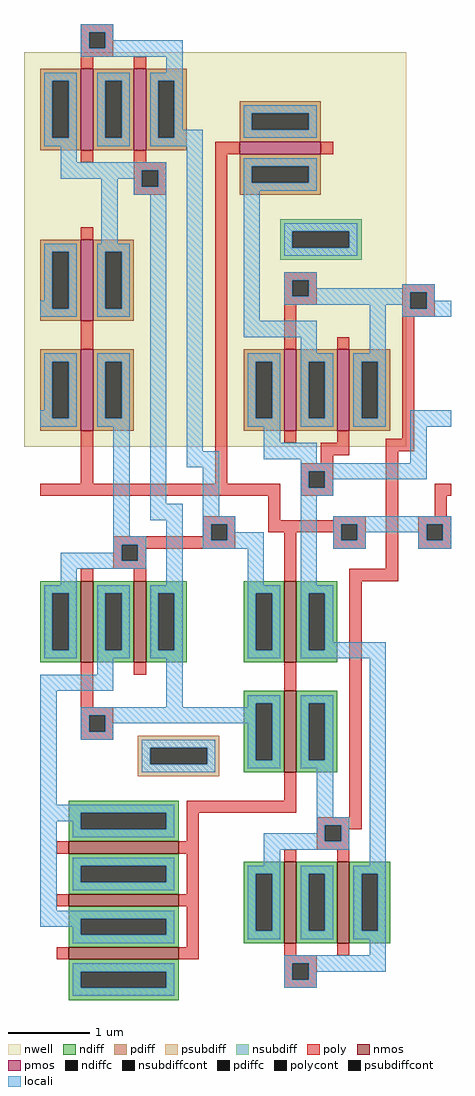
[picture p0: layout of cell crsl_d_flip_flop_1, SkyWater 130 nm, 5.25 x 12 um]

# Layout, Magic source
magic
tech sky130A
<< nwell >>
rect -70 -145 400 340
<< nmos >>
rect 0 -410 15 -310
rect 65 -410 80 -310
rect 250 -410 265 -310
rect 250 -545 265 -445
rect -15 -645 120 -630
rect -15 -710 120 -695
rect 250 -755 265 -655
rect 315 -755 330 -655
rect -15 -775 120 -760
<< pmos >>
rect 0 220 15 320
rect 65 220 80 320
rect 195 215 295 230
rect 0 10 15 110
rect 0 -125 15 -25
rect 250 -125 265 -25
rect 315 -125 330 -25
<< ndiff >>
rect -50 -325 0 -310
rect -50 -395 -35 -325
rect -15 -395 0 -325
rect -50 -410 0 -395
rect 15 -325 65 -310
rect 15 -395 30 -325
rect 50 -395 65 -325
rect 15 -410 65 -395
rect 80 -325 130 -310
rect 80 -395 95 -325
rect 115 -395 130 -325
rect 80 -410 130 -395
rect 200 -325 250 -310
rect 200 -395 215 -325
rect 235 -395 250 -325
rect 200 -410 250 -395
rect 265 -325 315 -310
rect 265 -395 280 -325
rect 300 -395 315 -325
rect 265 -410 315 -395
rect 200 -460 250 -445
rect 200 -530 215 -460
rect 235 -530 250 -460
rect 200 -545 250 -530
rect 265 -460 315 -445
rect 265 -530 280 -460
rect 300 -530 315 -460
rect 265 -545 315 -530
rect -15 -595 120 -580
rect -15 -615 0 -595
rect 105 -615 120 -595
rect -15 -630 120 -615
rect -15 -660 120 -645
rect -15 -680 0 -660
rect 105 -680 120 -660
rect -15 -695 120 -680
rect -15 -725 120 -710
rect -15 -745 0 -725
rect 105 -745 120 -725
rect -15 -760 120 -745
rect 200 -670 250 -655
rect 200 -740 215 -670
rect 235 -740 250 -670
rect 200 -755 250 -740
rect 265 -670 315 -655
rect 265 -740 280 -670
rect 300 -740 315 -670
rect 265 -755 315 -740
rect 330 -670 380 -655
rect 330 -740 345 -670
rect 365 -740 380 -670
rect 330 -755 380 -740
rect -15 -790 120 -775
rect -15 -810 0 -790
rect 105 -810 120 -790
rect -15 -825 120 -810
<< pdiff >>
rect -50 305 0 320
rect -50 235 -35 305
rect -15 235 0 305
rect -50 220 0 235
rect 15 305 65 320
rect 15 235 30 305
rect 50 235 65 305
rect 15 220 65 235
rect 80 305 130 320
rect 80 235 95 305
rect 115 235 130 305
rect 80 220 130 235
rect 195 265 295 280
rect 195 245 210 265
rect 280 245 295 265
rect 195 230 295 245
rect -50 95 0 110
rect -50 25 -35 95
rect -15 25 0 95
rect -50 10 0 25
rect 15 95 65 110
rect 15 25 30 95
rect 50 25 65 95
rect 15 10 65 25
rect -50 -40 0 -25
rect -50 -110 -35 -40
rect -15 -110 0 -40
rect -50 -125 0 -110
rect 15 -40 65 -25
rect 15 -110 30 -40
rect 50 -110 65 -40
rect 15 -125 65 -110
rect 195 200 295 215
rect 195 180 210 200
rect 280 180 295 200
rect 195 165 295 180
rect 200 -40 250 -25
rect 200 -110 215 -40
rect 235 -110 250 -40
rect 200 -125 250 -110
rect 265 -40 315 -25
rect 265 -110 280 -40
rect 300 -110 315 -40
rect 265 -125 315 -110
rect 330 -40 380 -25
rect 330 -110 345 -40
rect 365 -110 380 -40
rect 330 -125 380 -110
<< ndiffc >>
rect -35 -395 -15 -325
rect 30 -395 50 -325
rect 95 -395 115 -325
rect 215 -395 235 -325
rect 280 -395 300 -325
rect 215 -530 235 -460
rect 280 -530 300 -460
rect 0 -615 105 -595
rect 0 -680 105 -660
rect 0 -745 105 -725
rect 215 -740 235 -670
rect 280 -740 300 -670
rect 345 -740 365 -670
rect 0 -810 105 -790
<< pdiffc >>
rect -35 235 -15 305
rect 30 235 50 305
rect 95 235 115 305
rect 210 245 280 265
rect -35 25 -15 95
rect 30 25 50 95
rect -35 -110 -15 -40
rect 30 -110 50 -40
rect 210 180 280 200
rect 215 -110 235 -40
rect 280 -110 300 -40
rect 345 -110 365 -40
<< psubdiff >>
rect 70 -515 170 -500
rect 70 -535 85 -515
rect 155 -535 170 -515
rect 70 -550 170 -535
<< nsubdiff >>
rect 245 120 345 135
rect 245 100 260 120
rect 330 100 345 120
rect 245 85 345 100
<< psubdiffcont >>
rect 85 -535 155 -515
<< nsubdiffcont >>
rect 260 100 330 120
<< poly >>
rect 0 365 40 375
rect 0 345 10 365
rect 30 345 40 365
rect 0 335 40 345
rect 0 320 15 335
rect 65 320 80 335
rect 0 205 15 220
rect 65 205 80 220
rect 165 215 195 230
rect 295 215 310 230
rect 65 195 105 205
rect 65 175 75 195
rect 95 175 105 195
rect 65 165 105 175
rect 0 110 15 125
rect 0 -25 15 10
rect 0 -190 15 -125
rect 165 -190 180 215
rect 250 60 290 70
rect 250 40 260 60
rect 280 40 290 60
rect 250 30 290 40
rect 395 45 435 55
rect 250 -25 265 30
rect 395 25 405 45
rect 425 25 435 45
rect 395 15 435 25
rect 315 -25 330 -10
rect 250 -140 265 -125
rect 315 -140 330 -125
rect 395 -135 410 15
rect 295 -155 330 -140
rect 375 -150 410 -135
rect 295 -165 310 -155
rect 270 -175 310 -165
rect -50 -205 245 -190
rect 270 -195 280 -175
rect 300 -195 310 -175
rect 270 -205 310 -195
rect 150 -240 190 -230
rect 150 -255 160 -240
rect 40 -260 160 -255
rect 180 -260 190 -240
rect 230 -235 245 -205
rect 310 -235 350 -230
rect 230 -240 350 -235
rect 230 -250 320 -240
rect 40 -265 190 -260
rect 40 -285 50 -265
rect 70 -270 190 -265
rect 70 -285 80 -270
rect 40 -295 80 -285
rect 0 -310 15 -295
rect 65 -310 80 -295
rect 250 -310 265 -250
rect 310 -260 320 -250
rect 340 -260 350 -240
rect 310 -270 350 -260
rect 375 -295 390 -150
rect 435 -205 455 -190
rect 435 -230 450 -205
rect 415 -240 455 -230
rect 415 -260 425 -240
rect 445 -260 455 -240
rect 415 -270 455 -260
rect 330 -310 390 -295
rect 0 -465 15 -410
rect 65 -425 80 -410
rect 250 -445 265 -410
rect 0 -475 40 -465
rect 0 -495 10 -475
rect 30 -495 40 -475
rect 0 -505 40 -495
rect 250 -580 265 -545
rect 130 -595 265 -580
rect 130 -630 145 -595
rect 330 -600 345 -310
rect -30 -645 -15 -630
rect 120 -645 145 -630
rect 290 -610 345 -600
rect 290 -630 300 -610
rect 320 -615 345 -610
rect 320 -630 330 -615
rect 290 -640 330 -630
rect 130 -695 145 -645
rect 250 -655 265 -640
rect 315 -655 330 -640
rect -30 -710 -15 -695
rect 120 -710 145 -695
rect 130 -760 145 -710
rect -30 -775 -15 -760
rect 120 -775 145 -760
rect 250 -770 265 -755
rect 315 -770 330 -755
rect 250 -780 290 -770
rect 250 -800 260 -780
rect 280 -800 290 -780
rect 250 -810 290 -800
<< polycont >>
rect 10 345 30 365
rect 75 175 95 195
rect 260 40 280 60
rect 405 25 425 45
rect 280 -195 300 -175
rect 160 -260 180 -240
rect 50 -285 70 -265
rect 320 -260 340 -240
rect 425 -260 445 -240
rect 10 -495 30 -475
rect 300 -630 320 -610
rect 260 -800 280 -780
<< locali >>
rect 0 365 40 375
rect 0 345 10 365
rect 30 355 40 365
rect 30 345 125 355
rect 0 335 125 345
rect 105 315 125 335
rect -45 305 -5 315
rect -45 235 -35 305
rect -15 235 -5 305
rect -45 225 -5 235
rect 20 305 60 315
rect 20 235 30 305
rect 50 235 60 305
rect 20 225 60 235
rect 85 305 125 315
rect 85 235 95 305
rect 115 245 125 305
rect 200 265 290 275
rect 200 245 210 265
rect 280 245 290 265
rect 115 235 150 245
rect 200 235 290 245
rect 85 225 150 235
rect -25 205 -5 225
rect -25 195 105 205
rect -25 185 75 195
rect 25 105 45 185
rect 65 175 75 185
rect 95 175 105 195
rect 65 165 105 175
rect -45 95 -5 105
rect -45 35 -35 95
rect -50 25 -35 35
rect -15 25 -5 95
rect -50 15 -5 25
rect 20 95 60 105
rect 20 25 30 95
rect 50 25 60 95
rect 20 15 60 25
rect -45 -40 -5 -30
rect -45 -100 -35 -40
rect -50 -110 -35 -100
rect -15 -110 -5 -40
rect -50 -120 -5 -110
rect 20 -40 60 -30
rect 20 -110 30 -40
rect 50 -110 60 -40
rect 20 -120 60 -110
rect 40 -255 60 -120
rect 85 -215 105 165
rect 130 -150 150 225
rect 200 200 290 210
rect 200 180 210 200
rect 280 180 290 200
rect 200 170 290 180
rect 200 10 220 170
rect 250 120 340 130
rect 250 100 260 120
rect 330 100 340 120
rect 250 90 340 100
rect 250 60 290 70
rect 250 40 260 60
rect 280 50 290 60
rect 395 50 435 55
rect 280 45 435 50
rect 280 40 405 45
rect 250 30 405 40
rect 200 -10 290 10
rect 270 -30 290 -10
rect 355 -30 375 30
rect 395 25 405 30
rect 425 35 435 45
rect 425 25 455 35
rect 395 15 455 25
rect 205 -40 245 -30
rect 205 -110 215 -40
rect 235 -110 245 -40
rect 205 -120 245 -110
rect 270 -40 310 -30
rect 270 -110 280 -40
rect 300 -110 310 -40
rect 270 -120 310 -110
rect 335 -40 375 -30
rect 335 -110 345 -40
rect 365 -110 375 -40
rect 335 -120 375 -110
rect 405 -120 455 -100
rect 225 -140 245 -120
rect 130 -170 170 -150
rect 225 -160 290 -140
rect 85 -235 125 -215
rect 40 -265 80 -255
rect 40 -275 50 -265
rect -25 -285 50 -275
rect 70 -285 80 -265
rect -25 -295 80 -285
rect -25 -315 -5 -295
rect 105 -315 125 -235
rect 150 -230 170 -170
rect 270 -165 290 -160
rect 405 -165 425 -120
rect 270 -175 425 -165
rect 270 -195 280 -175
rect 300 -185 425 -175
rect 300 -195 310 -185
rect 270 -205 310 -195
rect 150 -240 190 -230
rect 150 -260 160 -240
rect 180 -250 190 -240
rect 180 -260 225 -250
rect 150 -270 225 -260
rect -45 -325 -5 -315
rect -45 -395 -35 -325
rect -15 -395 -5 -325
rect -45 -405 -5 -395
rect 20 -325 60 -315
rect 20 -395 30 -325
rect 50 -395 60 -325
rect 20 -405 60 -395
rect 85 -325 125 -315
rect 85 -395 95 -325
rect 115 -395 125 -325
rect 85 -405 125 -395
rect 205 -315 225 -270
rect 270 -315 290 -205
rect 310 -240 455 -230
rect 310 -260 320 -240
rect 340 -250 425 -240
rect 340 -260 350 -250
rect 310 -270 350 -260
rect 415 -260 425 -250
rect 445 -260 455 -240
rect 415 -270 455 -260
rect 205 -325 245 -315
rect 205 -395 215 -325
rect 235 -395 245 -325
rect 205 -405 245 -395
rect 270 -325 310 -315
rect 270 -395 280 -325
rect 300 -385 310 -325
rect 300 -395 375 -385
rect 270 -405 375 -395
rect 20 -425 40 -405
rect -50 -445 40 -425
rect -50 -585 -30 -445
rect 105 -465 125 -405
rect 205 -460 245 -450
rect 205 -465 215 -460
rect 0 -475 215 -465
rect 0 -495 10 -475
rect 30 -485 215 -475
rect 30 -495 40 -485
rect 0 -505 40 -495
rect 75 -515 165 -505
rect 75 -535 85 -515
rect 155 -535 165 -515
rect 75 -545 165 -535
rect 205 -530 215 -485
rect 235 -530 245 -460
rect 205 -540 245 -530
rect 270 -460 310 -450
rect 270 -530 280 -460
rect 300 -530 310 -460
rect 270 -540 310 -530
rect -50 -595 115 -585
rect -50 -605 0 -595
rect -50 -715 -30 -605
rect -10 -615 0 -605
rect 105 -615 115 -595
rect -10 -625 115 -615
rect 290 -600 310 -540
rect 290 -610 330 -600
rect 290 -620 300 -610
rect 225 -630 300 -620
rect 320 -630 330 -610
rect 225 -640 330 -630
rect -10 -660 115 -650
rect 225 -660 245 -640
rect 355 -660 375 -405
rect -10 -680 0 -660
rect 105 -680 115 -660
rect -10 -690 115 -680
rect 205 -670 245 -660
rect -50 -725 115 -715
rect -50 -735 0 -725
rect -10 -745 0 -735
rect 105 -745 115 -725
rect -10 -755 115 -745
rect 205 -740 215 -670
rect 235 -740 245 -670
rect 205 -750 245 -740
rect 270 -670 310 -660
rect 270 -740 280 -670
rect 300 -740 310 -670
rect 270 -750 310 -740
rect 335 -670 375 -660
rect 335 -740 345 -670
rect 365 -740 375 -670
rect 335 -750 375 -740
rect 355 -770 375 -750
rect 250 -780 375 -770
rect -10 -790 115 -780
rect -10 -810 0 -790
rect 105 -810 115 -790
rect 250 -800 260 -780
rect 280 -790 375 -780
rect 280 -800 290 -790
rect 250 -810 290 -800
rect -10 -820 115 -810
<< end >>
